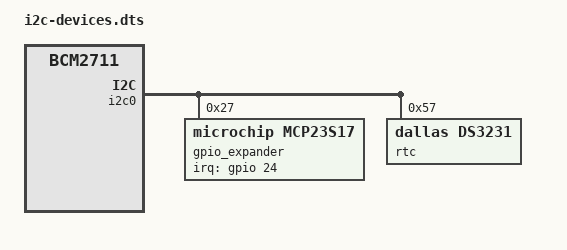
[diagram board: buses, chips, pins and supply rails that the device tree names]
/*
 * Device Tree Overlay for I2C peripherals
 * Target: Raspberry Pi 4B (BCM2711)
 */
/dts-v1/;
/plugin/;

/ {
    compatible = "brcm,bcm2711";

    fragment@0 {
        target = <&i2c0>;
        __overlay__ {
            status = "okay";
            #address-cells = <1>;
            #size-cells = <0>;

            gpio_expander: mcp23017@27 {
                compatible = "microchip,mcp23s17";
                reg = <0x27>;
                interrupt-parent = <&gpio>;
                interrupts = <24 0x2>;
                microchip,irq-mirror;
            };

            rtc: ds3231@57 {
                compatible = "dallas,ds3231";
                reg = <0x57>;
            };
        };
    };
};
